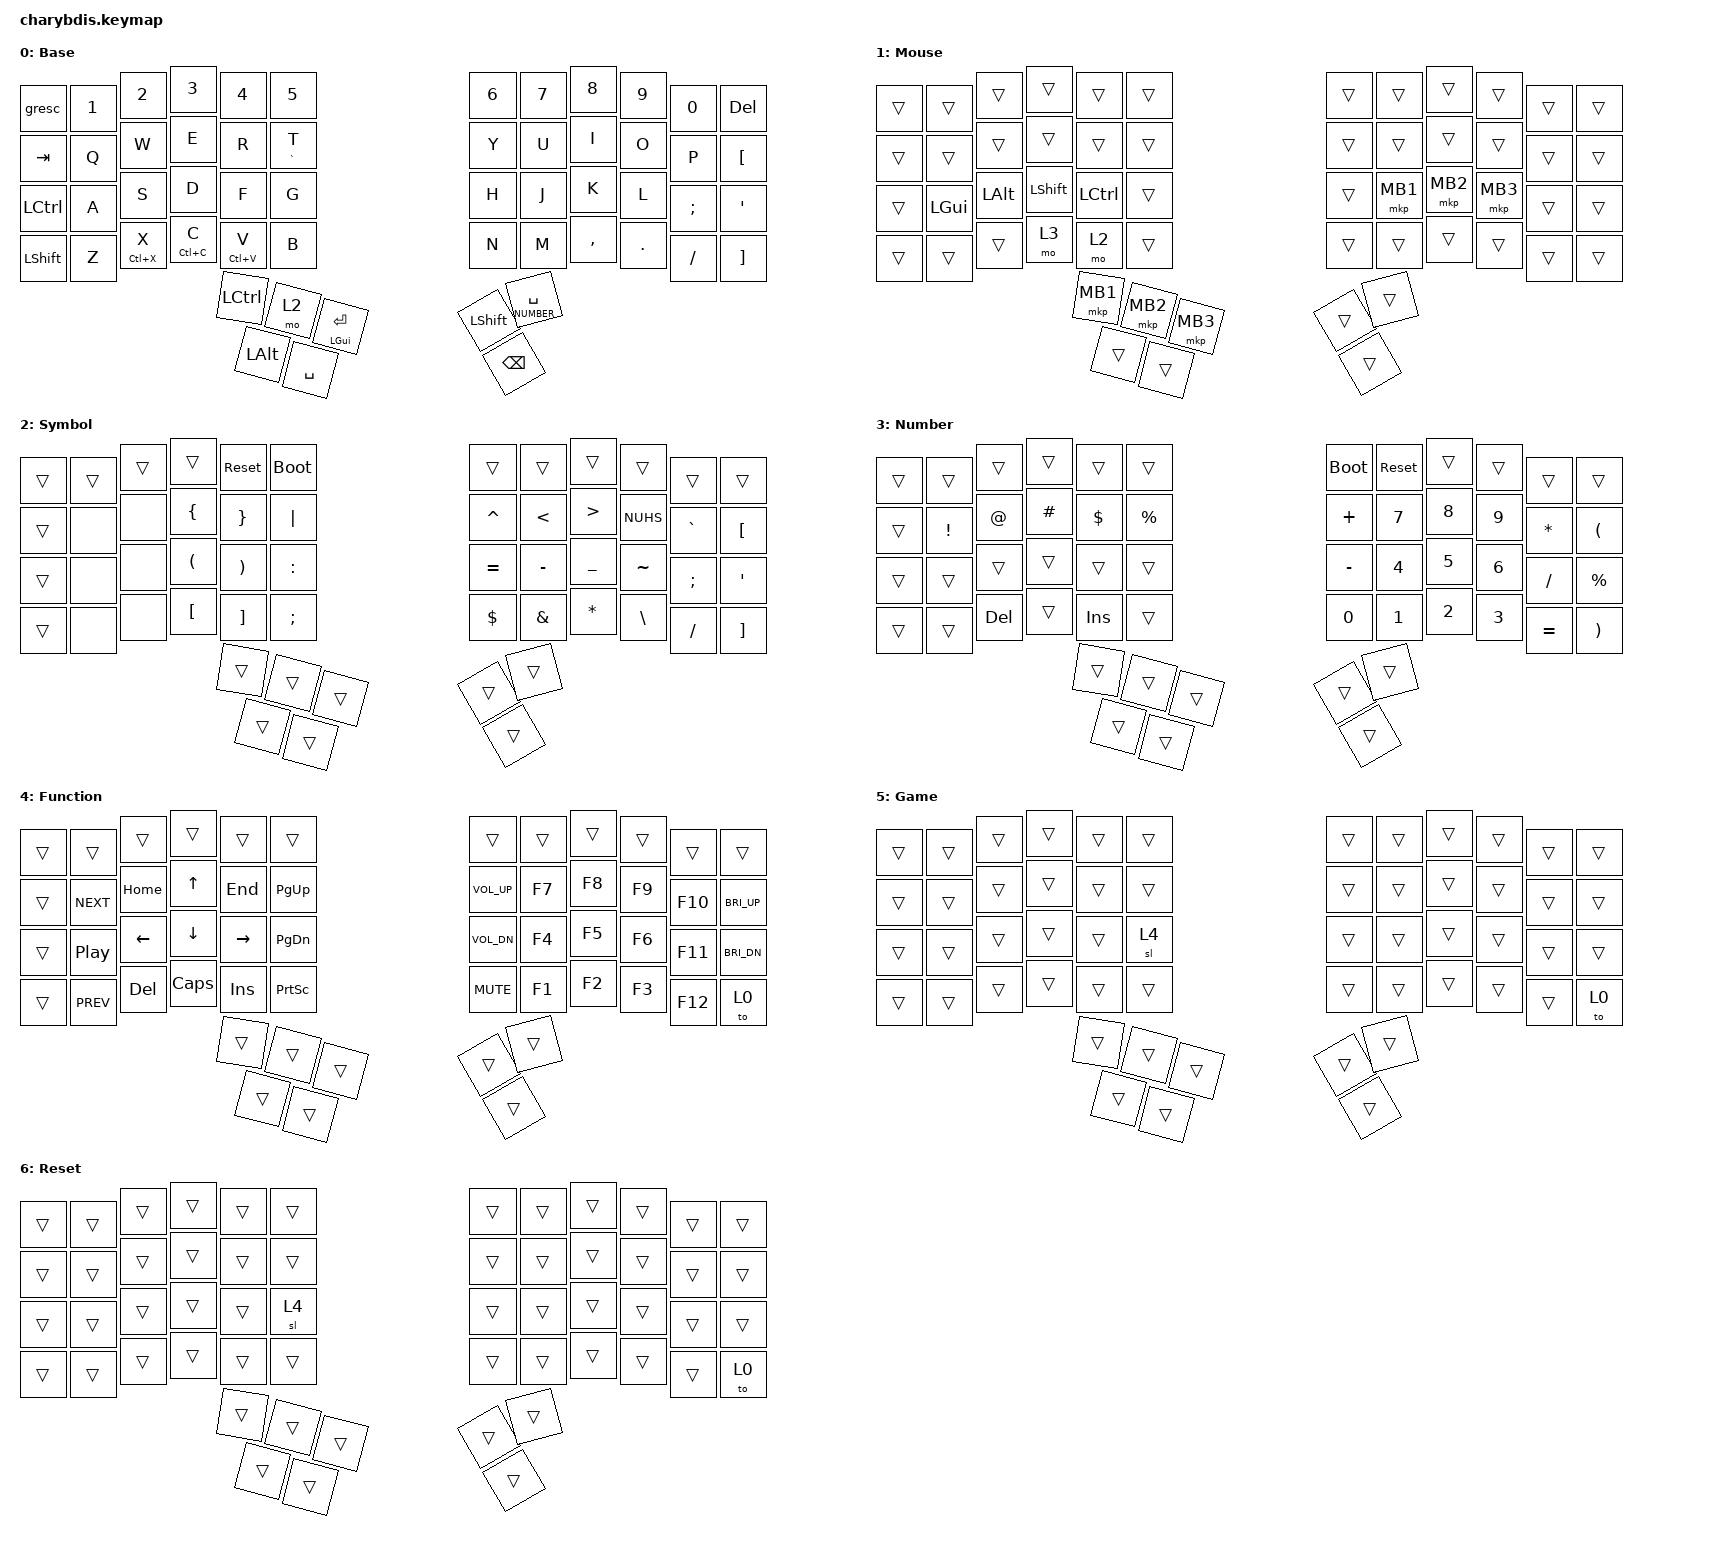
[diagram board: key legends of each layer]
#include <behaviors.dtsi>
#include <dt-bindings/zmk/keys.h>
#include <dt-bindings/zmk/pointing.h>

#define BASE 0
#define MOUSE 1
#define SYMBOL 2
#define NUMBER 3
#define FUNCTION 4
#define GAME 5
#define RESET 6

#define KEYS_L 0 1 2 3 4 10 11 12 13 14 20 21 22 23 24  
#define KEYS_R 5 6 7 8 9 15 16 17 18 19 25 26 27 28 29
#define THUMBS 30 31 32 33 34 35 

&sk {
  release-after-ms = <600>;
  quick-release;
};

&sl {
  ignore-modifiers;
};

&mt {
  flavor = "tap-preferred";
};

&lt {
  flavor = "balanced";
  tapping-term-ms = <200>;
  quick-tap-ms = <175>;
};

&caps_word {
  /delete-property/ ignore-modifiers;
};

/ {
  behaviors {
    hml: hml {
      compatible = "zmk,behavior-hold-tap";
      #binding-cells = <2>;
      flavor = "balanced";
      tapping-term-ms = <2000>;
      quick-tap-ms = <175>;
      require-prior-idle-ms = <250>;
      hold-trigger-key-positions = <KEYS_R THUMBS>;
      hold-trigger-on-release;
      bindings =
        <&kp>,
        <&kp>;
    };
    hmr: hmr {
      compatible = "zmk,behavior-hold-tap";
      #binding-cells = <2>;
      flavor = "balanced";
      tapping-term-ms = <2000>;
      quick-tap-ms = <175>;
      require-prior-idle-ms = <250>;
      hold-trigger-key-positions = <KEYS_L THUMBS>;
      hold-trigger-on-release;
      bindings =
        <&kp>,
        <&kp>;
    };
    hml_s: hml_s {
      compatible = "zmk,behavior-hold-tap";
      #binding-cells = <2>;
      flavor = "balanced";
      tapping-term-ms = <2000>;
      quick-tap-ms = <175>;
      require-prior-idle-ms = <0>;
      hold-trigger-key-positions = <KEYS_R THUMBS>;
      hold-trigger-on-release;
      bindings =
        <&kp>,
        <&kp>;
    };
    hmr_s: hmr_s {
      compatible = "zmk,behavior-hold-tap";
      #binding-cells = <2>;
      flavor = "balanced";
      tapping-term-ms = <2000>;
      quick-tap-ms = <175>;
      require-prior-idle-ms = <0>;
      hold-trigger-key-positions = <KEYS_L THUMBS>;
      hold-trigger-on-release;
      bindings =
        <&kp>,
        <&kp>;
    };
    smart_shift: smart_shift {
      compatible = "zmk,behavior-mod-morph";
      #binding-cells = <0>;
      bindings = <&sk LSHIFT>, <&caps_word>;
      mods = <(MOD_LSFT)>;
    };
  };

  combos {
    compatible = "zmk,combos";
    timeout-ms = <20>;
    require-prior-idle-ms = <250>;

    combo_reset_layer_left {
      key-positions = <20 24>;
      bindings = <&to RESET>;
    };
    combo_reset_layer_right {
      key-positions = <25 29>;
      bindings = <&to RESET>;
    };
    combo_reset_central {
      key-positions = <32 33>;
      bindings = <&bootloader>;
      require-prior-idle-ms = <2000>;
    };
    combo_normal {
      key-positions = <7 8>;
      bindings = <&to BASE>;
    };
    combo_fn {
      key-positions = <27 28>;
      bindings = <&sl FUNCTION>;
    };
    combo_genshin {
      key-positions = <5 9>;
      bindings = <&to GAME>;
    };
    combo_esc {
      key-positions = <1 2>;
      bindings = <&kp ESCAPE>;
    };
    combo_tab {
      key-positions = <2 3>;
      bindings = <&kp TAB>;
    };
    combo_cdel {
      key-positions = <11 12>;
      bindings = <&kp LC(BACKSPACE)>;
    };
    combo_unlock {
      key-positions = <0 4>;
      bindings = <&studio_unlock>;
    };
  };

  chosen {
    zmk,physical-layout = &charybdis_6col_layout;
  };

  keymap {
    compatible = "zmk,keymap";

    Base {
        label = "Base";
        display-name = "Base";
        bindings = <
        // ╭─────────────┬─────────────┬─────────────┬─────────────┬─────────────┬─────────────╮   ╭─────────────┬─────────────┬─────────────┬─────────────┬─────────────┬─────────────────╮
               &gresc       &kp N1         &kp N2        &kp N3        &kp N4        &kp N5            &kp N6        &kp N7        &kp N8        &kp N9        &kp N0       &kp DEL
        // ├─────────────┼─────────────┼─────────────┼─────────────┼─────────────┼─────────────┤   ├─────────────┼─────────────┼─────────────┼─────────────┼─────────────┼─────────────────┤
               &kp TAB       &kp Q          &kp W         &kp E         &kp R      &mt GRAVE T         &kp Y         &kp U         &kp I         &kp O         &kp P      &kp LBKT
        // ├─────────────┼─────────────┼─────────────┼─────────────┼─────────────┼─────────────┤   ├─────────────┼─────────────┼─────────────┼─────────────┼─────────────┼─────────────────┤
               &kp LCTRL     &kp A          &kp S         &kp D         &kp F         &kp G             &kp H         &kp J         &kp K         &kp L       &kp SEMI      &kp APOS
        // ├─────────────┼─────────────┼─────────────┼─────────────┼─────────────┼─────────────┤   ├─────────────┼─────────────┼─────────────┼─────────────┼─────────────┼─────────────────┤
              &kp LSHFT      &kp Z       &mt LC(X) X   &mt LC(C) C   &mt LC(V) V      &kp B             &kp N         &kp M      &kp COMMA      &kp DOT       &kp FSLH     &kp RBKT
        // ╰─────────────┴─────────────┼─────────────┼─────────────┼=============┼==============┤   ├=============┼─────────────┼─────────────┼─────────────┼─────────────┴─────────────────╯
                             &kp LCTRL      &mo 2      &mt LGUI RET   &kp LALT      &kp SPACE          &kp LSHFT   &lt NUMBER SPACE &kp BSPC
        //               ╰─────────────┤─────────────┤─────────────┤==============|=============|   |=============├─────────────┼─────────────╯
        >;
    };

    Mouse {
      label = "Mouse";
      display-name = "Mouse";
      bindings = <
     // ╭─────────────┬─────────────┬─────────────┬─────────────┬─────────────┬─────────────╮   ╭─────────────┬─────────────┬─────────────┬─────────────┬─────────────┬─────────────────╮
          &trans         &trans         &trans         &trans        &trans      &trans            &trans        &trans         &trans       &trans         &trans         &trans
     // ├─────────────┼─────────────┼─────────────┼─────────────┼─────────────┼─────────────┤   ├─────────────┼─────────────┼─────────────┼─────────────┼─────────────┼─────────────────┤
          &trans         &trans         &trans         &trans        &trans      &trans            &trans        &trans         &trans       &trans         &trans         &trans
     // ├─────────────┼─────────────┼─────────────┼─────────────┼─────────────┼─────────────┤   ├─────────────┼─────────────┼─────────────┼─────────────┼─────────────┼─────────────────┤
          &trans         &kp LGUI       &kp LALT       &kp LSHFT     &kp LCTRL   &trans            &trans        &mkp MB1       &mkp MB2     &mkp MB3       &trans         &trans
     // ├─────────────┼─────────────┼─────────────┼─────────────┼─────────────┼─────────────┤   ├─────────────┼─────────────┼─────────────┼─────────────┼─────────────┼─────────────────┤
          &trans         &trans         &trans         &mo 3         &mo 2       &trans            &trans        &trans         &trans       &trans         &trans         &trans
     // ╰─────────────┴─────────────┼─────────────┼─────────────┼=============┼=============┤   ├=============┼─────────────┼─────────────┼─────────────┼─────────────┴─────────────────╯
                          &mkp MB1     &mkp MB2       &mkp MB3       &trans       &trans           &trans        &trans         &trans
     //               ╰─────────────┤─────────────┤─────────────┤==============|============|   |=============├─────────────┼─────────────╯
      >;
    };

    Sym {
      label = "Symbol";
      display-name = "Symbol";
      bindings = <
      // ╭─────────────┬─────────────┬─────────────┬─────────────┬─────────────┬─────────────╮   ╭─────────────┬─────────────┬─────────────┬─────────────┬─────────────┬─────────────╮
             &trans         &trans       &trans         &trans      &sys_reset   &bootloader         &trans       &trans         &trans        &trans        &trans        &trans
      // ├─────────────┼─────────────┼─────────────┼─────────────┼─────────────┼─────────────┤   ├─────────────┼─────────────┼─────────────┼─────────────┼─────────────┼─────────────┤
             &trans        &none         &none        &kp LBRC      &kp RBRC      &kp PIPE          &kp CARET     &kp LT         &kp GT       &kp NUHS      &kp GRAVE    &kp LBKT
      // ├─────────────┼─────────────┼─────────────┼─────────────┼─────────────┼─────────────┤   ├─────────────┼─────────────┼─────────────┼─────────────┼─────────────┼─────────────┤
             &trans        &none         &none        &kp LPAR      &kp RPAR      &kp COLON         &kp EQUAL     &kp MINUS      &kp UNDER    &kp TILDE     &kp SEMI     &kp APOS
      // ├─────────────┼─────────────┼─────────────┼─────────────┼─────────────┼─────────────┤   ├─────────────┼─────────────┼─────────────┼─────────────┼─────────────┼─────────────┤
             &trans        &none         &none        &kp LBKT      &kp RBKT      &kp SEMI          &kp DLLR      &kp AMPS       &kp STAR     &kp BSLH      &kp FSLH     &kp RBKT
     //  ╰─────────────┴─────────────┼─────────────┼─────────────┼=============┼=============┤   ├=============┼─────────────┼─────────────┼─────────────┼─────────────┴────────────╯
                           &trans        &trans         &trans        &trans       &trans            &trans       &trans         &trans
      //               ╰─────────────┤─────────────┤─────────────┤==============|=============|   |=============├─────────────┼─────────────╯
      >;
    };

    Num {
      label = "Number";
      display-name = "Number";
      bindings = <
      // ╭─────────────┬─────────────┬─────────────┬─────────────┬─────────────┬─────────────╮   ╭─────────────┬─────────────┬─────────────┬─────────────┬─────────────┬─────────────╮
             &trans        &trans         &trans       &trans         &trans       &trans          &bootloader    &sys_reset     &trans        &trans        &trans        &trans
      // ├─────────────┼─────────────┼─────────────┼─────────────┼─────────────┼─────────────┤   ├─────────────┼─────────────┼─────────────┼─────────────┼─────────────┼─────────────┤
             &trans        &kp EXCL       &kp AT      &kp HASH       &kp DLLR     &kp PRCNT         &kp PLUS      &kp N7        &kp N8        &kp N9       &kp ASTERISK  &kp LPAR
      // ├─────────────┼─────────────┼─────────────┼─────────────┼─────────────┼─────────────┤   ├─────────────┼─────────────┼─────────────┼─────────────┼─────────────┼─────────────┤
             &trans        &trans         &trans       &trans         &trans       &trans           &kp MINUS     &kp N4        &kp N5        &kp N6       &kp SLASH     &kp PRCNT
      // ├─────────────┼─────────────┼─────────────┼─────────────┼─────────────┼─────────────┤   ├─────────────┼─────────────┼─────────────┼─────────────┼─────────────┼─────────────┤
             &trans        &trans        &kp DEL        &trans         &kp INS       &trans           &kp N0      &kp N1        &kp N2        &kp N3       &kp EQUAL     &kp RPAR
      // ╰─────────────┴─────────────┼─────────────┼─────────────┼=============┼=============┤   ├=============┼─────────────┼─────────────┼─────────────┼─────────────┴────────────╯
                           &trans        &trans         &trans        &trans       &trans            &trans        &trans        &trans
      //               ╰─────────────┤─────────────┤─────────────┤==============|=============|   |=============├─────────────┼─────────────╯
      >;
    };

    Fun {
      label = "Function";
      display-name = "Function";
      bindings = <
      // ╭─────────────┬─────────────┬─────────────┬─────────────┬─────────────┬─────────────╮   ╭─────────────┬─────────────┬─────────────┬─────────────┬─────────────┬─────────────╮
             &trans        &trans         &trans       &trans         &trans       &trans           &trans         &trans         &trans        &trans        &trans        &trans
      // ├─────────────┼─────────────┼─────────────┼─────────────┼─────────────┼─────────────┤   ├─────────────┼─────────────┼─────────────┼─────────────┼─────────────┼─────────────┤
             &trans        &kp C_NEXT    &kp HOME      &kp UP       &kp END      &kp PG_UP         &kp C_VOL_UP   &kp F7         &kp F8        &kp F9        &kp F10    &kp C_BRI_UP
      // ├─────────────┼─────────────┼─────────────┼─────────────┼─────────────┼─────────────┤   ├─────────────┼─────────────┼─────────────┼─────────────┼─────────────┼─────────────┤
             &trans        &kp C_PP      &kp LEFT      &kp DOWN     &kp RIGHT    &kp PG_DN         &kp C_VOL_DN   &kp F4         &kp F5        &kp F6        &kp F11    &kp C_BRI_DN
      // ├─────────────┼─────────────┼─────────────┼─────────────┼─────────────┼─────────────┤   ├─────────────┼─────────────┼─────────────┼─────────────┼─────────────┼─────────────┤
             &trans        &kp C_PREV    &kp DEL       &kp CAPS       &kp INS      &kp PSCRN          &kp C_MUTE     &kp F1         &kp F2        &kp F3        &kp F12        &to 0
      // ╰─────────────┴─────────────┼─────────────┼─────────────┼=============┼=============┤   ├=============┼─────────────┼─────────────┼─────────────┼─────────────┴────────────╯
                           &trans        &trans         &trans        &trans       &trans            &trans        &trans        &trans
      //               ╰─────────────┤─────────────┤─────────────┤==============|=============|   |=============├─────────────┼─────────────╯
      >;
    };

    Button {
      label = "Game";
      display-name = "Game";
      bindings = <
      // ╭─────────────┬─────────────┬─────────────┬─────────────┬─────────────┬─────────────╮   ╭─────────────┬─────────────┬─────────────┬─────────────┬─────────────┬─────────────╮
             &trans        &trans         &trans       &trans         &trans       &trans           &trans         &trans         &trans        &trans        &trans        &trans
      // ├─────────────┼─────────────┼─────────────┼─────────────┼─────────────┼─────────────┤   ├─────────────┼─────────────┼─────────────┼─────────────┼─────────────┼─────────────┤
             &trans        &trans         &trans       &trans         &trans       &trans           &trans         &trans         &trans        &trans        &trans        &trans
      // ├─────────────┼─────────────┼─────────────┼─────────────┼─────────────┼─────────────┤   ├─────────────┼─────────────┼─────────────┼─────────────┼─────────────┼─────────────┤
             &trans        &trans         &trans       &trans         &trans        &sl 4           &trans         &trans         &trans        &trans        &trans        &trans
      // ├─────────────┼─────────────┼─────────────┼─────────────┼─────────────┼─────────────┤   ├─────────────┼─────────────┼─────────────┼─────────────┼─────────────┼─────────────┤
             &trans        &trans         &trans       &trans         &trans       &trans           &trans         &trans         &trans        &trans        &trans        &to 0
      // ╰─────────────┴─────────────┼─────────────┼─────────────┼=============┼=============┤   ├=============┼─────────────┼─────────────┼─────────────┼─────────────┴────────────╯
                           &trans        &trans         &trans        &trans       &trans            &trans        &trans        &trans
      //               ╰─────────────┤─────────────┤─────────────┤==============|============|   |=============├─────────────┼─────────────╯
      >;
    };

    Reset {
      label = "Reset";
      display-name = "Reset";
      bindings = <
      // ╭─────────────┬─────────────┬─────────────┬─────────────┬─────────────┬─────────────╮   ╭─────────────┬─────────────┬─────────────┬─────────────┬─────────────┬─────────────╮
             &trans        &trans         &trans       &trans         &trans       &trans           &trans         &trans         &trans        &trans        &trans        &trans
      // ├─────────────┼─────────────┼─────────────┼─────────────┼─────────────┼─────────────┤   ├─────────────┼─────────────┼─────────────┼─────────────┼─────────────┼─────────────┤
             &trans        &trans         &trans       &trans         &trans       &trans           &trans         &trans         &trans        &trans        &trans        &trans
      // ├─────────────┼─────────────┼─────────────┼─────────────┼─────────────┼─────────────┤   ├─────────────┼─────────────┼─────────────┼─────────────┼─────────────┼─────────────┤
             &trans        &trans         &trans       &trans         &trans        &sl 4           &trans         &trans         &trans        &trans        &trans        &trans
      // ├─────────────┼─────────────┼─────────────┼─────────────┼─────────────┼─────────────┤   ├─────────────┼─────────────┼─────────────┼─────────────┼─────────────┼─────────────┤
             &trans        &trans         &trans       &trans         &trans       &trans           &trans         &trans         &trans        &trans        &trans        &to 0
      // ╰─────────────┴─────────────┼─────────────┼─────────────┼=============┼==============┤   ├=============┼─────────────┼─────────────┼─────────────┼─────────────┴────────────╯
                           &trans        &trans         &trans        &trans       &trans            &trans        &trans        &trans
      //               ╰─────────────┤─────────────┤─────────────┤==============|=============|   |=============├─────────────┼─────────────╯
      >;
    };
  };
};

